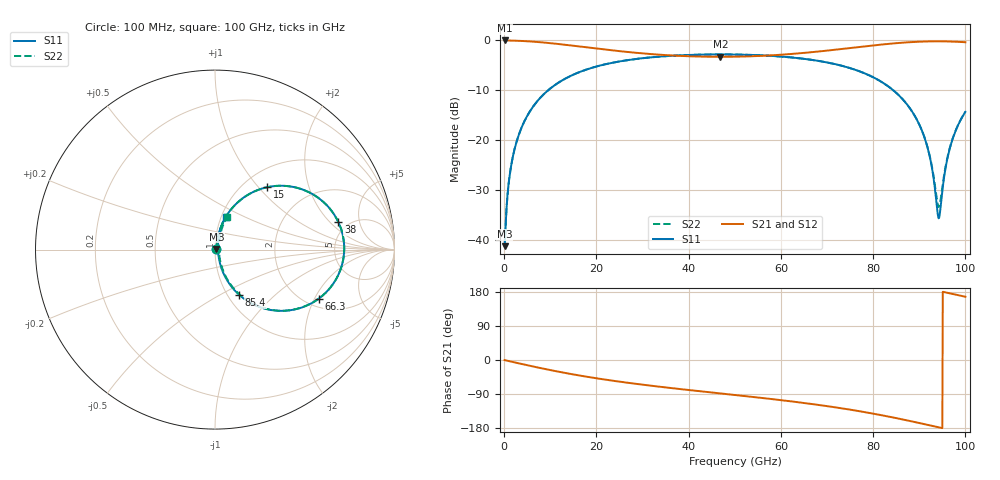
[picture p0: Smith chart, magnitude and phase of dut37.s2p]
! Touchstone file exported from HFSS 2026.1.0
!  File:  C:/ffzhzh/LocalFiles/Ansys_Project_Files/temp_train_RDL_37_1783498076_9504.aedt
!  Generated:  04:09:12 PM Jul  8, 2026
!  Design:  RDL
!  Project:  temp_train_RDL_37_1783498076_9504
! Variables:
!  h_bsmrdl = 2um
!  h_ox = 20um
!  h_rdl = 5um
!  h_sub = 80um
!  h_tmrdl = 2.2um
!  h_tsv = 80um
!  h_via = 3um
!  l_bsmrdl = 300um
!  l_sub = 1023.02um
!  l_tmrdl = 623.02um
!  m_sub = 200um
!  pitch = 52.03um
!  r_tsv = 6um
!  s_tmrdl = 10um
!  w_bsmrdl = 18um
!  w_sub = 500um
!  w_tmrdl = 12.72um
!  x_tsv_center1 = 629.38um
!  x_tsv_center2 = 947.38um
!  x_tsv_center3 = 1583.12um
!  x_tsv_center4 = 1901.12um
!  x_tsv_center5 = 2536.86um
!  x_tsv_center6 = 2854.86um
# GHz S MA R 50.000000
! Terminal data exported
! Port[1] = TM_RDL1_1_T1
! Port[2] = TM_RDL1_1_T2
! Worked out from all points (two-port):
!   1000 points, 100 MHz to 100 GHz, reference 50 ohm
!   highest |S21| = -0.07 dB at 100 MHz (marker M1); lowest = -3.3 dB at 46.9 GHz (marker M2)
!   |S21| within 3 dB of the highest: start of sweep to 36.41 GHz; 57.36 GHz to end of sweep
!   lowest |S11| = -41.1 dB at 100 MHz (marker M3), VSWR 1.02, Z = 50.8 + j0.378 ohm
!   |S11| at or under -10 dB: start of sweep to 9.558 GHz; 84.34 GHz to end of sweep
!   |S22| runs from -41.1 to -2.9 dB; largest |S21 - S12| = 1.7e-14
!   S11 on the Smith chart (normalised r, x): 100 MHz: 1.02, +0.01; 15 GHz: 1.27, +1.11; 38 GHz: 4.16, +2.53; 66.3 GHz: 2.33, -2.16; 85.4 GHz: 1.13, -0.62; 100 GHz: 1.05, +0.40
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0.1  0.008761 25.1  0.9921 -0.3  0.9921 -0.3  0.008761 25.1
! Gamma 0 0 0 0
! Port Impedance 50 0 50 0
0.9  0.0342 72.6  0.9907 -2.6  0.9907 -2.6  0.0342 72.6
1.5  0.05512 76.1  0.9892 -4.2  0.9892 -4.2  0.05512 76.1
3.9  0.1381 75.0  0.9803 -10.8  0.9803 -10.8  0.1381 75.0
8.3  0.2796 65.3  0.9487 -22.4  0.9487 -22.4  0.2796 65.3
15  0.452 50.2  0.8786 -38.1  0.8786 -38.1  0.452 50.2
16.8  0.4887 46.5  0.8586 -41.9  0.8586 -41.9  0.4887 46.5
33.4  0.6826 18.8  0.7166 -70.1  0.7166 -70.1  0.6826 18.8
38  0.7042 12.6  0.6963 -76.5  0.6963 -76.5  0.7042 12.5
46.9  0.72 1.1  0.6809 -88.2  0.6809 -88.2  0.72 1.1
50.1  0.7181 -3.0  0.6829 -92.4  0.6829 -92.4  0.7181 -3.0
66.3  0.6387 -25.4  0.7548 -115.5  0.7548 -115.5  0.6387 -25.4
66.7  0.6348 -26.1  0.7579 -116.1  0.7579 -116.1  0.6348 -26.0
75.9  0.5094 -42.1  0.8424 -132.8  0.8424 -132.8  0.5095 -41.9
83.4  0.3418 -57.5  0.9179 -149.4  0.9179 -149.4  0.3419 -57.1
85.4  0.2861 -61.8  0.9352 -154.3  0.9352 -154.3  0.2863 -61.2
88.6  0.1887 -68.2  0.9573 -162.6  0.9573 -162.6  0.1891 -67.1
91  0.1107 -70.9  0.968 -168.9  0.968 -168.9  0.1114 -68.8
92.5  0.06116 -67.8  0.9716 -173.0  0.9716 -173.0  0.06257 -63.8
94.2  0.01664 -1.3  0.9726 -177.6  0.9726 -177.6  0.02155 -0.6
96.7  0.08548 74.1  0.9683 175.7  0.9683 175.7  0.08668 70.5
100  0.1922 71.7  0.9526 166.9  0.9526 166.9  0.1928 69.9
